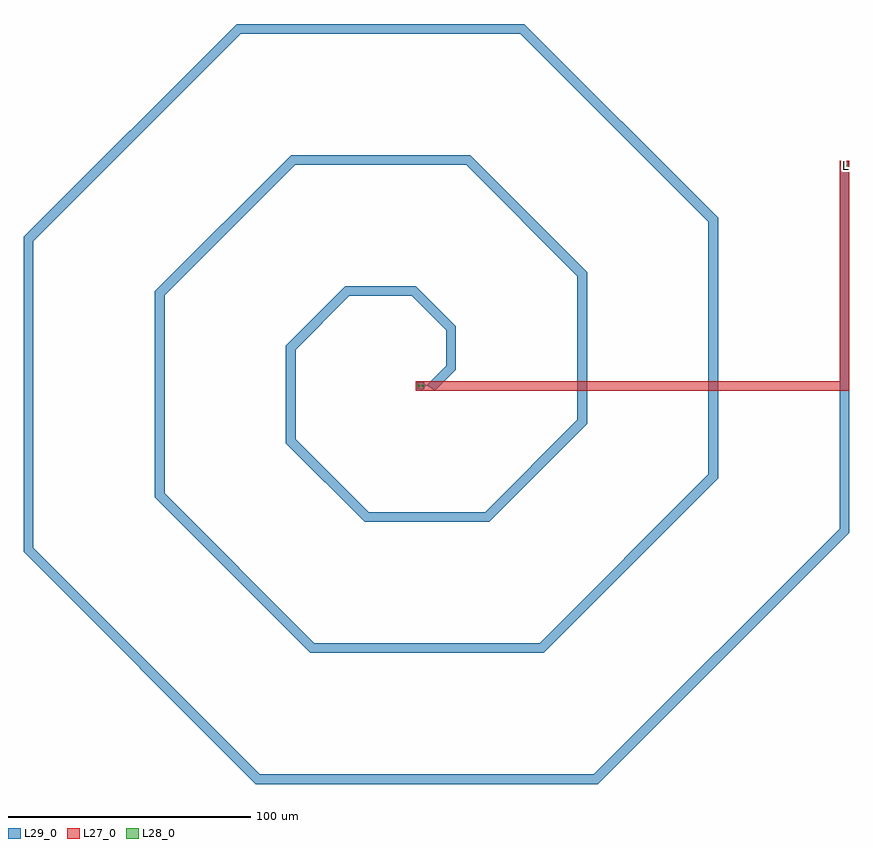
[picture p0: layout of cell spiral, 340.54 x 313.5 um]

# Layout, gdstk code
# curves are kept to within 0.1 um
import gdstk
lib = gdstk.Library(unit=1e-6, precision=5e-10)
def R(c, l, rs):  # rectangles x0, y0, x1, y1
    for r in rs: c.add(gdstk.rectangle(r[:2], r[2:], *l))
def P(c, l, *ps):  # polygons
    for p in ps: c.add(gdstk.Polygon(p, *l))
L27_0 = (27, 0)
L28_0 = (28, 0)
L29_0 = (29, 0)

spiral = lib.new_cell('spiral')
R(spiral, L27_0, [(48,48,226.7305,52), (222.7305,48,226.7305,142.8955), (48.5,48.5,51.5,51.5), (223.2305,139.3955,226.2305,142.3955)])
R(spiral, L28_0, [(48.76,49.6,49.56,50.4), (50.44,49.6,51.24,50.4), (223.4905,140.4955,224.2905,141.2955), (225.1705,140.4955,225.9705,141.2955)])
R(spiral, L29_0, [(48.5,48.5,51.5,51.5), (223.2305,139.3955,226.2305,142.3955)])
P(spiral, L29_0, [(-18.0285,-114.235),(-113.811,-18.4525),(-113.811,111.404),(-25.948,199.267),(92.709,199.267),(172.652,119.324),(172.652,11.867),(100.6285,-60.157),(4.3715,-60.157),(-59.7325,3.9475),(-59.7325,89.004),(-3.548,145.1885),(70.309,145.1885),(118.5735,96.924),(118.5735,34.267),(78.2285,-6.0785),(26.7715,-6.0785),(-5.654,26.3475),(-5.654,66.604),(18.852,91.1105),(47.909,91.1105),(64.4955,74.524),(64.4955,56.667),(55.8285,48),(50,52),(50,48),(60.4955,58.324),(60.4955,72.867),(46.252,87.1105),(20.509,87.1105),(-1.654,64.9475),(-1.654,28.004),(28.4285,-2.0785),(76.5715,-2.0785),(114.5735,35.924),(114.5735,95.267),(68.652,141.1885),(-1.891,141.1885),(-55.7325,87.3475),(-55.7325,5.604),(6.0285,-56.157),(98.9715,-56.157),(168.652,13.524),(168.652,117.667),(91.052,195.267),(-24.291,195.267),(-109.811,109.7475),(-109.811,-16.796),(-16.3715,-110.235),(121.3715,-110.235),(222.7305,-8.876),(222.7305,140.8955),(226.7305,140.8955),(226.7305,-10.533),(123.0285,-114.235)])
spiral.add(gdstk.Label('L', (225.7305,140.8955), layer=29, texttype=1))

lib.write_gds('spiral.gds')
